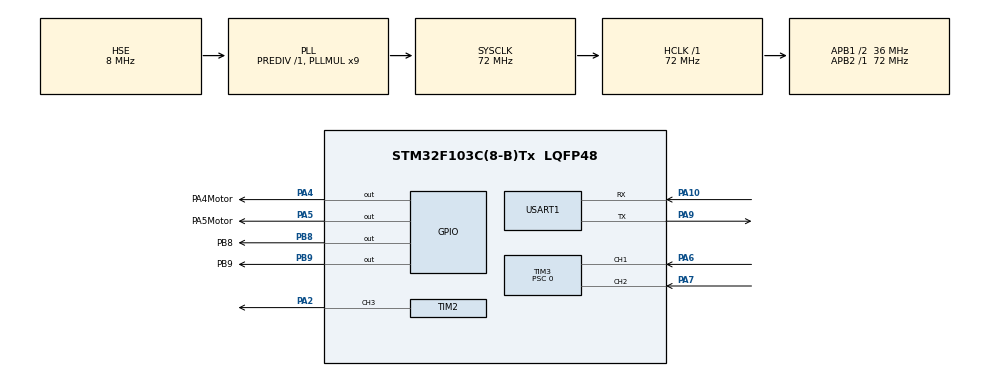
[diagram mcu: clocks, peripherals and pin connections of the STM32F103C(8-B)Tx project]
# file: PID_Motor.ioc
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Mcu.Family=STM32F1
Mcu.Name=STM32F103C(8-B)Tx
Mcu.Package=LQFP48
NVIC.PriorityGroup=NVIC_PRIORITYGROUP_4
NVIC.TIM1_BRK_IRQn=true\:0\:0\:false\:false\:true\:true\:true\:true
NVIC.TIM1_CC_IRQn=true\:0\:0\:false\:false\:true\:true\:true\:true
NVIC.TIM1_TRG_COM_IRQn=true\:0\:0\:false\:false\:true\:true\:true\:true
NVIC.TIM1_UP_IRQn=true\:0\:0\:false\:false\:true\:true\:true\:true
NVIC.USART1_IRQn=true\:0\:0\:false\:false\:true\:true\:true\:true
PA10.Mode=Asynchronous
PA10.Signal=USART1_RX
PA13.Mode=Serial_Wire
PA13.Signal=SYS_JTMS-SWDIO
PA14.Mode=Serial_Wire
PA14.Signal=SYS_JTCK-SWCLK
PA2.Signal=S_TIM2_CH3
PA4.GPIO_Label=PA4Motor
PA4.GPIO_Speed=GPIO_SPEED_FREQ_LOW
PA4.Signal=GPIO_Output
PA5.GPIO_Label=PA5Motor
PA5.Signal=GPIO_Output
PA6.GPIO_PuPd=GPIO_PULLUP
PA6.Signal=S_TIM3_CH1
PA7.GPIO_PuPd=GPIO_PULLUP
PA7.Signal=S_TIM3_CH2
PA9.Mode=Asynchronous
PA9.Signal=USART1_TX
PB8.GPIO_Label=PB8
PB8.GPIO_ModeDefaultOutputPP=GPIO_MODE_OUTPUT_OD
PB8.GPIO_PuPd=GPIO_NOPULL
PB8.Signal=GPIO_Output
PB9.GPIO_Label=PB9
PB9.GPIO_ModeDefaultOutputPP=GPIO_MODE_OUTPUT_OD
PB9.GPIO_PuPd=GPIO_NOPULL
PB9.Signal=GPIO_Output
PD0-OSC_IN.Mode=HSE-External-Oscillator
PD0-OSC_IN.Signal=RCC_OSC_IN
PD1-OSC_OUT.Mode=HSE-External-Oscillator
PD1-OSC_OUT.Signal=RCC_OSC_OUT
ProjectManager.HeapSize=0x200
ProjectManager.StackSize=0x400
ProjectManager.TargetToolchain=MDK-ARM V5.32
RCC.AHBFreq_Value=72000000
RCC.APB1CLKDivider=RCC_HCLK_DIV2
RCC.APB1Freq_Value=36000000
RCC.APB1TimFreq_Value=72000000
RCC.APB2Freq_Value=72000000
RCC.APB2TimFreq_Value=72000000
RCC.HCLKFreq_Value=72000000
RCC.PLLMUL=RCC_PLL_MUL9
RCC.PLLSourceVirtual=RCC_PLLSOURCE_HSE
RCC.SYSCLKFreq_VALUE=72000000
RCC.SYSCLKSource=RCC_SYSCLKSOURCE_PLLCLK
RCC.USBFreq_Value=72000000
SH.S_TIM2_CH3.0=TIM2_CH3,PWM Generation3 CH3
SH.S_TIM3_CH1.0=TIM3_CH1,Encoder_Interface
SH.S_TIM3_CH2.0=TIM3_CH2,Encoder_Interface
TIM1.AutoReloadPreload=TIM_AUTORELOAD_PRELOAD_ENABLE
TIM1.Period=100-1
TIM1.Prescaler=7200-1
TIM2.Channel-PWM\ Generation3\ CH3=TIM_CHANNEL_3
TIM2.Period=10000-1
TIM2.Prescaler=1-1
TIM2.Pulse-PWM\ Generation3\ CH3=0
TIM3.AutoReloadPreload=TIM_AUTORELOAD_PRELOAD_DISABLE
TIM3.EncoderMode=TIM_ENCODERMODE_TI12
TIM3.Period=65535
TIM3.Prescaler=0
USART1.VirtualMode=VM_ASYNC
VP_TIM1_VS_ClockSourceINT.Mode=Internal
VP_TIM2_VS_ClockSourceINT.Mode=Internal
board=custom

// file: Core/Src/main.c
/* USER CODE BEGIN Header */
/**
  ******************************************************************************
  * @file           : main.c
  * @brief          : Main program body
  ******************************************************************************
  * @attention
  *
  * Copyright (c) 2024 STMicroelectronics.
  * All rights reserved.
  *
  * This software is licensed under terms that can be found in the LICENSE file
  * in the root directory of this software component.
  * If no LICENSE file comes with this software, it is provided AS-IS.
  *
  ******************************************************************************
  */
/* USER CODE END Header */
#include "main.h"
#include "tim.h"
#include "usart.h"
#include "gpio.h"

/* USER CODE BEGIN Includes */
#include "OLED.h"
#include "pid.h"
#include "Serial.h"
#include <math.h>
/* USER CODE END Includes */

/* USER CODE BEGIN PD */
#define RX_BUFFER_SIZE 5  // 定义接收缓冲区大小
/* USER CODE END PD */

/* USER CODE BEGIN PV */

uint8_t RxBuffer[RX_BUFFER_SIZE];  // 接收缓冲区

float Speed = 0;

PID speedpid;
float Encoder_Speed = 0;
float Target_val = 200;

PID positionpid;
float Position = 0;

int16_t RxNUM = 0;

int16_t m, u1;
float PI = 3.1415926, u;

/* USER CODE END PV */

void SystemClock_Config(void);

/* USER CODE BEGIN 0 */
void Motor_SetSpeed(int16_t Speed){
	if(Speed >= 0){
		// GPIO_SetBits(GPIOA, GPIO_Pin_4);
		// GPIO_ResetBits(GPIOA, GPIO_Pin_5);
		// PWM_SetCompare3(Speed);
    HAL_GPIO_WritePin(GPIOA, GPIO_PIN_4, GPIO_PIN_SET);
    HAL_GPIO_WritePin(GPIOA, GPIO_PIN_5, GPIO_PIN_RESET);
    __HAL_TIM_SET_COMPARE(&htim2, TIM_CHANNEL_3, Speed);
	}
	else{
		// GPIO_ResetBits(GPIOA, GPIO_Pin_4);
		// GPIO_SetBits(GPIOA, GPIO_Pin_5);
		// PWM_SetCompare3(-Speed);
    HAL_GPIO_WritePin(GPIOA, GPIO_PIN_4, GPIO_PIN_RESET);
    HAL_GPIO_WritePin(GPIOA, GPIO_PIN_5, GPIO_PIN_SET);
    __HAL_TIM_SET_COMPARE(&htim2, TIM_CHANNEL_3, -Speed);
	}
}

//获得电机的脉�?????
int16_t Encoder_Get(void){
	int16_t Temp;
	Temp = __HAL_TIM_GET_COUNTER(&htim3); //获取编码器当前�??
	__HAL_TIM_SET_COUNTER(&htim3, 0);     //将编码器计数器清0
	return Temp;
}

void MotorControl(void){
	Encoder_Speed = Encoder_Get();  //1.获取电机10ms的脉冲数(encoder t1 + t2, 未除2)。即10ms获取的脉冲数。即速度�?????
  Position += Encoder_Speed ;  //累计实际脉冲数

	Speed = PID_Incremental_Calc(&speedpid,Target_val ,Encoder_Speed);

  // Speed = PID_Position_Calc(&positionpid, Target_val, Position);

	Motor_SetSpeed(Speed);  //3.PWM输出给电�?????
}

//TIM1中断函数
void HAL_TIM_PeriodElapsedCallback(TIM_HandleTypeDef *htim){
  if(htim == &htim1){
    MotorControl();
  }
}

//usart1中断函数
void HAL_UART_RxCpltCallback(UART_HandleTypeDef *huart){
  // if(huart == &huart1){
    // Serial_RxFlag = 1;
  //   HAL_UART_Receive_IT(&huart1, &ByteRecv, 1);
  // }

  if(huart == &huart1){
    if(ByteRecv == 'a'){
      Target_val += 10;
      Serial_printf("Target_val:%f\n", Target_val);
      HAL_UART_Receive_IT(&huart1, &ByteRecv, 1);
    }
    else if(ByteRecv == 's'){
      Target_val -= 10;
      Serial_printf("Target_val:%f\n", Target_val);
      HAL_UART_Receive_IT(&huart1, &ByteRecv, 1);
    }
    else if(ByteRecv == 'd'){
      RxNUM = 0;
      ByteRecv = 'f';
      HAL_UART_Receive_IT(&huart1, RxBuffer, 5);
    }
    else if(ByteRecv == 'f'){
      uint8_t i;
      for(i = 0; i < 5; i++){
          RxNUM += ((int16_t)(RxBuffer[i] - '0')) * Serial_Pow(10, 4 - i);
          // Serial_printf("RxNUM:%d\n", RxNUM);
      }

      Serial_RxFlag = 1;
      HAL_UART_Receive_IT(&huart1, &ByteRecv, 1);
    }

  }

  // if(huart == &huart1){
  //   Serial_RxFlag = 1;  // 设置接收完成标志

  //   HAL_UART_Receive_IT(&huart1, RxBuffer, 1);  // 继续接收下一个字节
  // }
}

/* USER CODE END 0 */

int main(void)
{

  /* MCU Configuration--------------------------------------------------------*/

  /* Reset of all peripherals, Initializes the Flash interface and the Systick. */
  HAL_Init();

  /* Configure the system clock */
  SystemClock_Config();

  /* Initialize all configured peripherals */
  MX_GPIO_Init();
  MX_TIM2_Init();
  MX_TIM1_Init();
  MX_TIM3_Init();
  MX_USART1_UART_Init();
  /* USER CODE BEGIN 2 */
  OLED_Init();

  PID_Init(&speedpid, 60, 30, 1, 10000);
  PID_Init(&positionpid, 20, 0, 2, 10000);

  HAL_TIM_PWM_Start(&htim2, TIM_CHANNEL_3);
  Motor_SetSpeed(2000);

  HAL_TIM_Encoder_Start(&htim3,TIM_CHANNEL_1 | TIM_CHANNEL_2);

  HAL_TIM_Base_Start_IT(&htim1);

  OLED_ShowString(1, 1, "Speed:");
  // OLED_ShowString(1, 13, "r/s");

  HAL_UART_Receive_IT(&huart1, &ByteRecv, 1);   //start itrpt receive a byte
  /* USER CODE END 2 */

  /* Infinite loop */
  /* USER CODE BEGIN WHILE */
  while (1)
  {
    //Speed 单位(13xian, 减su比1:20, itrpt 10ms, rising & falling edge record twice): round/s
    // OLED_ShowSignedNum(1, 7, (Encoder_Speed*100/13/20/2), 5);
    // OLED_ShowSignedNum(2, 7, (Speed*100/13/20/2), 5);
    OLED_ShowSignedNum(1, 7, (Encoder_Speed), 5);
    OLED_ShowSignedNum(2, 7, (Speed), 5);

    Serial_printf("Speed, Enc_spd, RxNUM:%f,%f,%d\n", Speed, Encoder_Speed, RxNUM); //Speed is duty, Encoder_Speed is pulse
    //position 单位 target_val / 20 /2 *27.7 = angle
    //RxNUM is angle
    if(Serial_GetRxFlag() == 1){
      Target_val = RxNUM /27.7 * 2 * 20;
      // Serial_printf("RxNUM:%d\n", RxNUM);
      Serial_printf("Target_val:%f\n", Target_val);
    }

    // if(Serial_GetRxFlag() == 1){
    //   if(ByteRecv == 'a'){
    //     Target_val += 10;
    //   }
    //   else if(ByteRecv == 's'){
    //     Target_val -= 10;
    //   }
    //   Serial_printf("Target_val:%f\n", Target_val);
    // }

    //sin
    for(m = 0; m <= 628; m++){  //2*PI = 628
      u = sin(m/100.0);
      u1 = (int16_t)(u*10000);

      OLED_ShowSignedNum(1, 7, (Encoder_Speed), 5);
      OLED_ShowSignedNum(2, 7, (Speed), 5);
      Serial_printf("Speed, Enc_spd, RxNUM:%f,%f,%d\n", Speed, Encoder_Speed, RxNUM);

      HAL_Delay(10);
      // OLED_ShowSignedNum(3, 7, u1, 5);
      Serial_printf("u1:%d\n", u1);
      Target_val = u1;
    }
    /* USER CODE END WHILE */

  }
}

void SystemClock_Config(void)
{
  RCC_OscInitTypeDef RCC_OscInitStruct = {0};
  RCC_ClkInitTypeDef RCC_ClkInitStruct = {0};

  /** Initializes the RCC Oscillators according to the specified parameters
  * in the RCC_OscInitTypeDef structure.
  */
  RCC_OscInitStruct.OscillatorType = RCC_OSCILLATORTYPE_HSE;
  RCC_OscInitStruct.HSEState = RCC_HSE_ON;
  RCC_OscInitStruct.HSEPredivValue = RCC_HSE_PREDIV_DIV1;
  RCC_OscInitStruct.HSIState = RCC_HSI_ON;
  RCC_OscInitStruct.PLL.PLLState = RCC_PLL_ON;
  RCC_OscInitStruct.PLL.PLLSource = RCC_PLLSOURCE_HSE;
  RCC_OscInitStruct.PLL.PLLMUL = RCC_PLL_MUL9;
  if (HAL_RCC_OscConfig(&RCC_OscInitStruct) != HAL_OK)
  {
    Error_Handler();
  }

  /** Initializes the CPU, AHB and APB buses clocks
  */
  RCC_ClkInitStruct.ClockType = RCC_CLOCKTYPE_HCLK|RCC_CLOCKTYPE_SYSCLK
                              |RCC_CLOCKTYPE_PCLK1|RCC_CLOCKTYPE_PCLK2;
  RCC_ClkInitStruct.SYSCLKSource = RCC_SYSCLKSOURCE_PLLCLK;
  RCC_ClkInitStruct.AHBCLKDivider = RCC_SYSCLK_DIV1;
  RCC_ClkInitStruct.APB1CLKDivider = RCC_HCLK_DIV2;
  RCC_ClkInitStruct.APB2CLKDivider = RCC_HCLK_DIV1;

  if (HAL_RCC_ClockConfig(&RCC_ClkInitStruct, FLASH_LATENCY_2) != HAL_OK)
  {
    Error_Handler();
  }
}

void Error_Handler(void)
{
  __disable_irq();
  while (1)
  {
  }
}
